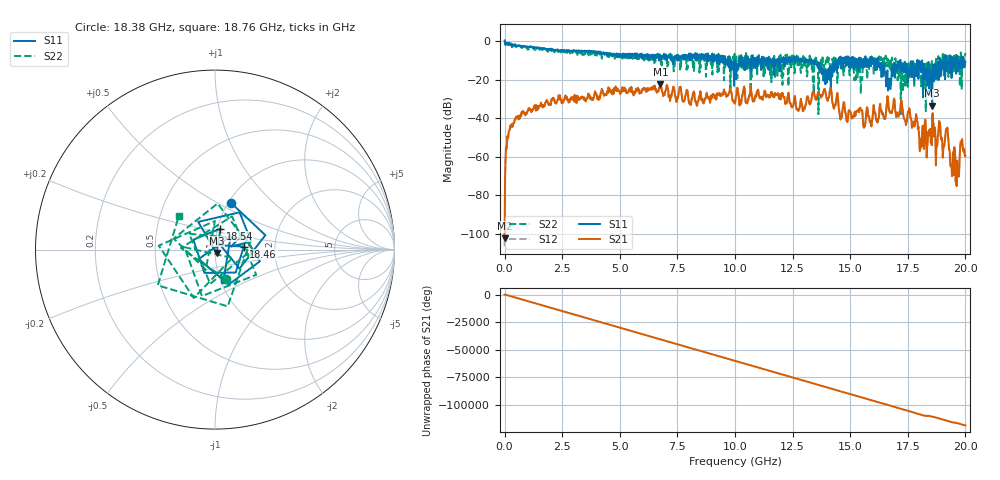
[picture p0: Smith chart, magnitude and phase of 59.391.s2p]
! Created with skrf 1.9.0 (http://scikit-rf.org).
# Hz S RI R 50.0
!freq ReS11 ImS11 ReS21 ImS21 ReS12 ImS12 ReS22 ImS22
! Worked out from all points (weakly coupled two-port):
!   1001 points, 1 MHz to 20 GHz, reference 50 ohm
!   highest |S21| = -22.44 dB at 6.761 GHz (marker M1); lowest = -102.3 dB at 1 MHz (marker M2)
!   lowest |S11| = -33.4 dB at 18.56 GHz (marker M3), VSWR 1.04, Z = 50.9 - j1.96 ohm
!   |S11| at or under -10 dB: 13.36 GHz to 14.32 GHz (958.4 MHz wide, 6.92 % of centre); 16.22 GHz to 17.16 GHz (943 MHz wide, 5.65 % of centre); 18.12 GHz to 18.87 GHz (752.1 MHz wide, 4.07 % of centre) (the widest 3 of 101)
!   |S22| runs from -37.8 to -0.2 dB; largest |S21 - S12| = 0.0077
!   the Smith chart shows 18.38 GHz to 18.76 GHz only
!   S11 on the Smith chart (normalised r, x): 18.38 GHz: 1.03, +0.58; 18.46 GHz: 1.38, +0.05; 18.54 GHz: 1.03, +0.24; 18.76 GHz: 1.04, -0.36
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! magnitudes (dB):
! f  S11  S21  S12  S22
! 1 MHz  0.4  -102.3  -106.4  -0.2
! 161 MHz  -1.5  -49.5  -49.5  -1.8
! 481 MHz  -1.8  -40.3  -39.9  -2.6
! 3.341 GHz  -4.8  -28.7  -28.9  -6.7
! 6.681 GHz  -7.4  -25.9  -25.5  -8.4
! 6.761 GHz  -9.2  -22.4  -22.6  -10.1
! 10 GHz  -9.5  -32.4  -32.9  -7.3
! 13.34 GHz  -11.1  -28.8  -28.4  -15.0
! 13.94 GHz  -14.9  -27.6  -27.8  -9.9
! 15.6 GHz  -9.1  -44.9  -44.9  -13.4
! 16.68 GHz  -23.0  -35.5  -35.4  -9.2
! 17.28 GHz  -11.9  -35.8  -35.9  -26.3
! 18.38 GHz  -11.2  -47.1  -47.0  -15.0
! 18.46 GHz  -15.8  -48.8  -48.2  -11.4
! 18.54 GHz  -18.4  -54.0  -53.7  -10.1
! 18.56 GHz  -33.4  -39.4  -39.5  -16.0
! 18.76 GHz  -15.2  -54.8  -54.6  -11.2
! 19.2 GHz  -15.6  -45.7  -45.4  -10.4
! 19.4 GHz  -19.0  -64.1  -63.7  -9.1
! 19.64 GHz  -7.4  -62.0  -62.0  -12.4
! 19.86 GHz  -14.2  -51.0  -50.6  -8.5
! 20 GHz  -10.9  -59.4  -58.7  -6.1
